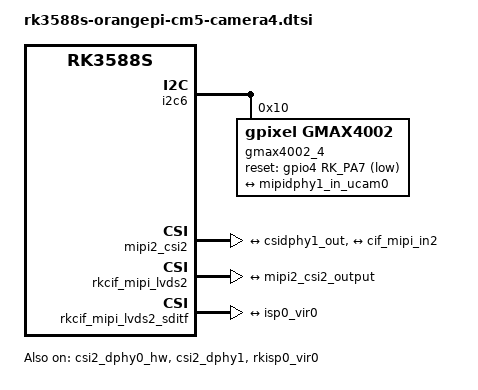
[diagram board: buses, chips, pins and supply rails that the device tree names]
// SPDX-License-Identifier: (GPL-2.0+ OR MIT)
/*
 * Copyright (c) 2021 Rockchip Electronics Co., Ltd.
 *
 */

&csi2_dphy0_hw {
	status = "okay";
};

&csi2_dphy1 {
	status = "okay";
	ports {
		#address-cells = <1>;
		#size-cells = <0>;
		port@0 {
			reg = <0>;
			#address-cells = <1>;
			#size-cells = <0>;

			mipidphy1_in_ucam0: endpoint@0 {
				reg = <0>;
				remote-endpoint = <&gmax4002_4_out>;
				data-lanes = <1 2 3 4>;
			};
		};
		port@1 {
				reg = <1>;
				#address-cells = <1>;
				#size-cells = <0>;
				csidphy1_out: endpoint@0 {
						reg = <0>;
						remote-endpoint = <&mipi2_csi2_input>;
				};
		};
	};
};

&i2c6 {
	status = "okay";
	pinctrl-names = "default";
	pinctrl-0 = <&i2c6m3_xfer>;

	gmax4002_4: gmax4002-4@10 {
		status = "okay";
		compatible = "gpixel,gmax4002";
		reg = <0x10>;
		clocks = <&ext_cam_ov5647_clk>;
		clock-names = "ext_cam_ov5647_clk";
		reset-gpios = <&gpio4 RK_PA7 GPIO_ACTIVE_LOW>;
		rockchip,camera-module-index = <0>;
		rockchip,camera-module-facing = "back";
		rockchip,camera-module-name = "rpi-camera-v1";
		rockchip,camera-module-lens-name = "default";
		port {
			gmax4002_4_out: endpoint {
				remote-endpoint = <&mipidphy1_in_ucam0>;
				data-lanes = <1 2 3 4>;
			};
		};
	};
};

&mipi2_csi2 {
	status = "okay";
	ports {
		#address-cells = <1>;
		#size-cells = <0>;
		port@0 {
			reg = <0>;
			#address-cells = <1>;
			#size-cells = <0>;
			mipi2_csi2_input: endpoint@1 {
				reg = <1>;
				remote-endpoint = <&csidphy1_out>;
			};
		};
		port@1 {
			reg = <1>;
			#address-cells = <1>;
			#size-cells = <0>;
			mipi2_csi2_output: endpoint@0 {
				reg = <0>;
				remote-endpoint = <&cif_mipi_in2>;
			};
		};
	};
};

&rkcif_mipi_lvds2 {
	status = "okay";
	port {
		cif_mipi_in2: endpoint {
			remote-endpoint = <&mipi2_csi2_output>;
		};
	};
};



&rkcif_mipi_lvds2_sditf {
	status = "okay";
		port {
			mipi2_lvds_sditf: endpoint {
			remote-endpoint = <&isp0_vir0>;
		};
	};
};

&rkisp0_vir0 {
status = "okay";
	port {
		#address-cells = <1>;
		#size-cells = <0>;
		isp0_vir0: endpoint@0 {
			reg = <0>;
			remote-endpoint = <&mipi2_lvds_sditf>;
		};
	};
};
